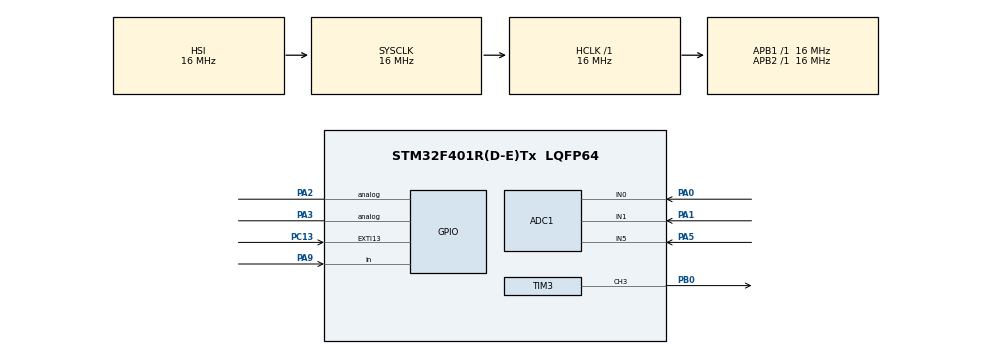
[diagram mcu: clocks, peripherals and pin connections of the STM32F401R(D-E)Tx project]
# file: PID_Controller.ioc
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Mcu.Family=STM32F4
Dma.ADC1.0.Instance=DMA2_Stream0
RCC.CortexFreq_Value=16000000
PC13-ANTI_TAMP.GPIO_PuPd=GPIO_PULLUP
ADC1.ContinuousConvMode=DISABLE
SH.S_TIM3_CH3.0=TIM3_CH3,PWM Generation3 CH3
PA9.GPIO_PuPd=GPIO_PULLUP
ADC1.SamplingTime-2\#ChannelRegularConversion=ADC_SAMPLETIME_3CYCLES
ProjectManager.StackSize=0x400
PA0-WKUP.Signal=ADCx_IN0
PA13.Signal=SYS_JTMS-SWDIO
TIM3.Channel-PWM\ Generation3\ CH3=TIM_CHANNEL_3
NVIC.ADC_IRQn=true\:0\:0\:false\:false\:true\:true\:true
Dma.ADC1.0.PeriphDataAlignment=DMA_PDATAALIGN_WORD
ADC1.Channel-5\#ChannelRegularConversion=ADC_CHANNEL_5
ProjectManager.TargetToolchain=STM32CubeIDE
Dma.ADC1.0.Mode=DMA_CIRCULAR
RCC.HCLKFreq_Value=16000000
Dma.ADC1.0.Priority=DMA_PRIORITY_LOW
RCC.APB2TimFreq_Value=16000000
PA9.Signal=GPIO_Input
ADC1.Channel-1\#ChannelRegularConversion=ADC_CHANNEL_0
Dma.ADC1.0.Direction=DMA_PERIPH_TO_MEMORY
ADC1.Channel-2\#ChannelRegularConversion=ADC_CHANNEL_1
ADC1.InjNumberOfConversion=0
NVIC.DMA2_Stream0_IRQn=true\:0\:0\:false\:false\:true\:false\:true
RCC.LSE_VALUE=32768
Dma.ADC1.0.MemDataAlignment=DMA_MDATAALIGN_WORD
PA1.Signal=ADCx_IN1
RCC.AHBFreq_Value=16000000
NVIC.EXTI15_10_IRQn=true\:0\:0\:false\:false\:true\:true\:true
PA5.Signal=ADCx_IN5
TIM3.Pulse-PWM\ Generation3\ CH3=65535
RCC.HSE_VALUE=25000000
VP_TIM2_VS_no_output1.Mode=PWM Generation1 No Output
board=custom
PC13-ANTI_TAMP.Signal=GPXTI13
RCC.VCOOutputFreq_Value=336000000
RCC.APB2Freq_Value=16000000
ADC1.Rank-2\#ChannelRegularConversion=2
PA14.Mode=Serial_Wire
Dma.ADC1.0.PeriphInc=DMA_PINC_DISABLE
SH.ADCx_IN0.0=ADC1_IN0,IN0
TIM2.Period=65535
ADC1.NbrOfConversion=3
PA13.Mode=Serial_Wire
Mcu.Name=STM32F401R(D-E)Tx
PA2.Signal=GPIO_Analog
RCC.48MHZClocksFreq_Value=84000000
ADC1.SamplingTime-1\#ChannelRegularConversion=ADC_SAMPLETIME_3CYCLES
RCC.SYSCLKFreq_VALUE=16000000
Mcu.Package=LQFP64
TIM2.Prescaler=15
ADC1.master=1
ADC1.Rank-1\#ChannelRegularConversion=1
PC13-ANTI_TAMP.GPIO_ModeDefaultEXTI=GPIO_MODE_IT_RISING
PA14.Signal=SYS_JTCK-SWCLK
Dma.ADC1.0.MemInc=DMA_MINC_ENABLE
ProjectManager.HeapSize=0x200
ADC1.SamplingTime-5\#ChannelRegularConversion=ADC_SAMPLETIME_3CYCLES
RCC.HSI_VALUE=16000000
SH.ADCx_IN5.0=ADC1_IN5,IN5
NVIC.PriorityGroup=NVIC_PRIORITYGROUP_4
TIM2.TIM_MasterOutputTrigger=TIM_TRGO_UPDATE
ADC1.NbrOfConversionFlag=1
TIM2.Channel-PWM\ Generation1\ No\ Output=TIM_CHANNEL_1
SH.ADCx_IN1.0=ADC1_IN1,IN1
RCC.PLLM=8
RCC.PLLN=168
RCC.APB1TimFreq_Value=16000000
Dma.ADC1.0.FIFOMode=DMA_FIFOMODE_DISABLE
Dma.Request0=ADC1
RCC.APB1Freq_Value=16000000
PB0.Signal=S_TIM3_CH3
ADC1.Rank-5\#ChannelRegularConversion=3
NVIC.RCC_IRQn=true\:0\:0\:false\:false\:true\:true\:false
PA3.Signal=GPIO_Analog

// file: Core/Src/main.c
/* USER CODE BEGIN Header */
/**
  ******************************************************************************
  * @file           : main.c
  * @brief          : Main program body
  ******************************************************************************
  * @attention
  *
  * <h2><center>&copy; Copyright (c) 2021 STMicroelectronics.
  * All rights reserved.</center></h2>
  *
  * This software component is licensed by ST under BSD 3-Clause license,
  * the "License"; You may not use this file except in compliance with the
  * License. You may obtain a copy of the License at:
  *                        opensource.org/licenses/BSD-3-Clause
  *
  ******************************************************************************
  */
/* USER CODE END Header */
#include "main.h"

ADC_HandleTypeDef hadc1;
DMA_HandleTypeDef hdma_adc1;

TIM_HandleTypeDef htim2;
TIM_HandleTypeDef htim3;

/* USER CODE BEGIN PV */

volatile long counter=0;
dir direction=Forward;

// ADC Value
uint32_t value[3];

// Timer
//uint16_t timer_val;

//PID constants
double kp;
double ki;
double kd;

unsigned long currentTime = 0, previousTime = 0;
double elapsedTime = 0;
double error = 0;
double lastError = 0;
double output = 0, setPoint = 0;
double cumError = 0, rateError = 0;

//uint32_t adcValue = 9;

//volatile uint32_t tim1_cnt=0, direction;
/* USER CODE END PV */

void SystemClock_Config(void);
static void MX_GPIO_Init(void);
static void MX_DMA_Init(void);
static void MX_ADC1_Init(void);
static void MX_TIM2_Init(void);
static void MX_TIM3_Init(void);

/* USER CODE BEGIN 0 */
//volatile long counter = 0;
/* USER CODE END 0 */

int main(void)
{
  /* USER CODE BEGIN 1 */
//	char buf[4];

  /* USER CODE END 1 */

  /* MCU Configuration--------------------------------------------------------*/

  /* Reset of all peripherals, Initializes the Flash interface and the Systick. */
  HAL_Init();

  /* Configure the system clock */
  SystemClock_Config();

  /* Initialize all configured peripherals */
  MX_GPIO_Init();
  MX_DMA_Init();
  MX_ADC1_Init();
  MX_TIM2_Init();
  MX_TIM3_Init();
  /* USER CODE BEGIN 2 */

//  HAL_TIM_Encoder_Start(&htim2, TIM_CHANNEL_ALL);
  extern uint8_t lastState;

  HAL_TIM_Base_Start(&htim2);

  HAL_TIM_Base_Start(&htim3);               //Initialize stm32 timer 3
  HAL_TIM_PWM_Start(&htim3,TIM_CHANNEL_3);  //PB0 Start pwm motor 100% duty cycle

  /* USER CODE END 2 */

  /* Infinite loop */
  /* USER CODE BEGIN WHILE */

  while (1)
  {
	  // Get current time (microseconds)
	  currentTime  = __HAL_TIM_GET_COUNTER(&htim2);
	  elapsedTime = (double)(currentTime - previousTime);

//	  HAL_ADC_Start_IT(&hadc1);
	  HAL_ADC_Start_DMA(&hadc1, value, 3);

	  kp = value[0];
	  kd = value[1];
	  ki = value[2];

//	  lastState = HAL_GPIO_ReadPin(GPIOA, GPIO_PIN_9);
//	  while(HAL_GPIO_ReadPin(GPIOC, GPIO_PIN_13) == SET)
//	  {
//		  uint8_t presentState = HAL_GPIO_ReadPin(GPIOA, GPIO_PIN_9);
//		  if (presentState != lastState)
//		  {
//			  if (presentState == SET)
//			  {
//				  direction = Forward;
//			  }
//			  else
//			  {
//				  direction = Reverse;
//			  }
//		  }
//	  }

	  error = setPoint - counter;                     // determine error
	  cumError += error * elapsedTime;                // compute integral
	  rateError = (error - lastError)/elapsedTime;    // compute derivative

	  if(counter == 0)
	  {
		  output = 0;
		  __HAL_TIM_SET_COMPARE(&htim3,TIM_CHANNEL_3,100); // motor voltage
		  HAL_GPIO_WritePin(GPIOA,GPIO_PIN_2,GPIO_PIN_RESET);   // Start motor clockwise rotation
		  HAL_GPIO_WritePin(GPIOA,GPIO_PIN_3,GPIO_PIN_RESET);
	  }
	  else if(counter >0)
	  {
		  output = (kp*error + ki*cumError + kd*rateError)/10000000000000000; //PID output
		  __HAL_TIM_SET_COMPARE(&htim3,TIM_CHANNEL_3,50); //motor voltage

		  HAL_GPIO_WritePin(GPIOA,GPIO_PIN_2,GPIO_PIN_SET);   // Start motor clockwise rotation
		  HAL_GPIO_WritePin(GPIOA,GPIO_PIN_3,GPIO_PIN_RESET);
	  }
	  else
	  {
		  output = (kp*error + ki*cumError + kd*rateError)/10000000000000000; //PID output
		  __HAL_TIM_SET_COMPARE(&htim3,TIM_CHANNEL_3,75); //motor voltage

		  HAL_GPIO_WritePin(GPIOA,GPIO_PIN_2,GPIO_PIN_RESET);   // Start motor anticlockwise rotation
		  HAL_GPIO_WritePin(GPIOA,GPIO_PIN_3,GPIO_PIN_SET);
	  }

	  lastError = error;                                //remember current error
	  previousTime = currentTime;                        //remember current time

    /* USER CODE END WHILE */

  }
}

void SystemClock_Config(void)
{
  RCC_OscInitTypeDef RCC_OscInitStruct = {0};
  RCC_ClkInitTypeDef RCC_ClkInitStruct = {0};

  /** Configure the main internal regulator output voltage
  */
  __HAL_RCC_PWR_CLK_ENABLE();
  __HAL_PWR_VOLTAGESCALING_CONFIG(PWR_REGULATOR_VOLTAGE_SCALE2);
  /** Initializes the RCC Oscillators according to the specified parameters
  * in the RCC_OscInitTypeDef structure.
  */
  RCC_OscInitStruct.OscillatorType = RCC_OSCILLATORTYPE_HSI;
  RCC_OscInitStruct.HSIState = RCC_HSI_ON;
  RCC_OscInitStruct.HSICalibrationValue = RCC_HSICALIBRATION_DEFAULT;
  RCC_OscInitStruct.PLL.PLLState = RCC_PLL_NONE;
  if (HAL_RCC_OscConfig(&RCC_OscInitStruct) != HAL_OK)
  {
    Error_Handler();
  }
  /** Initializes the CPU, AHB and APB buses clocks
  */
  RCC_ClkInitStruct.ClockType = RCC_CLOCKTYPE_HCLK|RCC_CLOCKTYPE_SYSCLK
                              |RCC_CLOCKTYPE_PCLK1|RCC_CLOCKTYPE_PCLK2;
  RCC_ClkInitStruct.SYSCLKSource = RCC_SYSCLKSOURCE_HSI;
  RCC_ClkInitStruct.AHBCLKDivider = RCC_SYSCLK_DIV1;
  RCC_ClkInitStruct.APB1CLKDivider = RCC_HCLK_DIV1;
  RCC_ClkInitStruct.APB2CLKDivider = RCC_HCLK_DIV1;

  if (HAL_RCC_ClockConfig(&RCC_ClkInitStruct, FLASH_LATENCY_0) != HAL_OK)
  {
    Error_Handler();
  }
}

static void MX_ADC1_Init(void)
{

  ADC_ChannelConfTypeDef sConfig = {0};

  /** Configure the global features of the ADC (Clock, Resolution, Data Alignment and number of conversion)
  */
  hadc1.Instance = ADC1;
  hadc1.Init.ClockPrescaler = ADC_CLOCK_SYNC_PCLK_DIV2;
  hadc1.Init.Resolution = ADC_RESOLUTION_12B;
  hadc1.Init.ScanConvMode = ENABLE;
  hadc1.Init.ContinuousConvMode = DISABLE;
  hadc1.Init.DiscontinuousConvMode = DISABLE;
  hadc1.Init.ExternalTrigConvEdge = ADC_EXTERNALTRIGCONVEDGE_NONE;
  hadc1.Init.ExternalTrigConv = ADC_SOFTWARE_START;
  hadc1.Init.DataAlign = ADC_DATAALIGN_RIGHT;
  hadc1.Init.NbrOfConversion = 3;
  hadc1.Init.DMAContinuousRequests = DISABLE;
  hadc1.Init.EOCSelection = ADC_EOC_SINGLE_CONV;
  if (HAL_ADC_Init(&hadc1) != HAL_OK)
  {
    Error_Handler();
  }
  /** Configure for the selected ADC regular channel its corresponding rank in the sequencer and its sample time.
  */
  sConfig.Channel = ADC_CHANNEL_0;
  sConfig.Rank = 1;
  sConfig.SamplingTime = ADC_SAMPLETIME_3CYCLES;
  if (HAL_ADC_ConfigChannel(&hadc1, &sConfig) != HAL_OK)
  {
    Error_Handler();
  }
  /** Configure for the selected ADC regular channel its corresponding rank in the sequencer and its sample time.
  */
  sConfig.Channel = ADC_CHANNEL_1;
  sConfig.Rank = 2;
  if (HAL_ADC_ConfigChannel(&hadc1, &sConfig) != HAL_OK)
  {
    Error_Handler();
  }
  /** Configure for the selected ADC regular channel its corresponding rank in the sequencer and its sample time.
  */
  sConfig.Channel = ADC_CHANNEL_5;
  sConfig.Rank = 3;
  if (HAL_ADC_ConfigChannel(&hadc1, &sConfig) != HAL_OK)
  {
    Error_Handler();
  }

}

static void MX_TIM2_Init(void)
{

  TIM_MasterConfigTypeDef sMasterConfig = {0};
  TIM_OC_InitTypeDef sConfigOC = {0};

  htim2.Instance = TIM2;
  htim2.Init.Prescaler = 15;
  htim2.Init.CounterMode = TIM_COUNTERMODE_UP;
  htim2.Init.Period = 65535;
  htim2.Init.ClockDivision = TIM_CLOCKDIVISION_DIV1;
  htim2.Init.AutoReloadPreload = TIM_AUTORELOAD_PRELOAD_DISABLE;
  if (HAL_TIM_PWM_Init(&htim2) != HAL_OK)
  {
    Error_Handler();
  }
  sMasterConfig.MasterOutputTrigger = TIM_TRGO_UPDATE;
  sMasterConfig.MasterSlaveMode = TIM_MASTERSLAVEMODE_DISABLE;
  if (HAL_TIMEx_MasterConfigSynchronization(&htim2, &sMasterConfig) != HAL_OK)
  {
    Error_Handler();
  }
  sConfigOC.OCMode = TIM_OCMODE_PWM1;
  sConfigOC.Pulse = 0;
  sConfigOC.OCPolarity = TIM_OCPOLARITY_HIGH;
  sConfigOC.OCFastMode = TIM_OCFAST_DISABLE;
  if (HAL_TIM_PWM_ConfigChannel(&htim2, &sConfigOC, TIM_CHANNEL_1) != HAL_OK)
  {
    Error_Handler();
  }

}

static void MX_TIM3_Init(void)
{

  TIM_MasterConfigTypeDef sMasterConfig = {0};
  TIM_OC_InitTypeDef sConfigOC = {0};

  htim3.Instance = TIM3;
  htim3.Init.Prescaler = 0;
  htim3.Init.CounterMode = TIM_COUNTERMODE_UP;
  htim3.Init.Period = 65535;
  htim3.Init.ClockDivision = TIM_CLOCKDIVISION_DIV1;
  htim3.Init.AutoReloadPreload = TIM_AUTORELOAD_PRELOAD_DISABLE;
  if (HAL_TIM_PWM_Init(&htim3) != HAL_OK)
  {
    Error_Handler();
  }
  sMasterConfig.MasterOutputTrigger = TIM_TRGO_RESET;
  sMasterConfig.MasterSlaveMode = TIM_MASTERSLAVEMODE_DISABLE;
  if (HAL_TIMEx_MasterConfigSynchronization(&htim3, &sMasterConfig) != HAL_OK)
  {
    Error_Handler();
  }
  sConfigOC.OCMode = TIM_OCMODE_PWM1;
  sConfigOC.Pulse = 65535;
  sConfigOC.OCPolarity = TIM_OCPOLARITY_HIGH;
  sConfigOC.OCFastMode = TIM_OCFAST_DISABLE;
  if (HAL_TIM_PWM_ConfigChannel(&htim3, &sConfigOC, TIM_CHANNEL_3) != HAL_OK)
  {
    Error_Handler();
  }
  HAL_TIM_MspPostInit(&htim3);

}

static void MX_DMA_Init(void)
{

  /* DMA controller clock enable */
  __HAL_RCC_DMA2_CLK_ENABLE();

  /* DMA interrupt init */
  /* DMA2_Stream0_IRQn interrupt configuration */
  HAL_NVIC_SetPriority(DMA2_Stream0_IRQn, 0, 0);
  HAL_NVIC_EnableIRQ(DMA2_Stream0_IRQn);

}

static void MX_GPIO_Init(void)
{
  GPIO_InitTypeDef GPIO_InitStruct = {0};

  /* GPIO Ports Clock Enable */
  __HAL_RCC_GPIOC_CLK_ENABLE();
  __HAL_RCC_GPIOA_CLK_ENABLE();
  __HAL_RCC_GPIOB_CLK_ENABLE();

  /*Configure GPIO pin : PC13 */
  GPIO_InitStruct.Pin = GPIO_PIN_13;
  GPIO_InitStruct.Mode = GPIO_MODE_IT_RISING;
  GPIO_InitStruct.Pull = GPIO_PULLUP;
  HAL_GPIO_Init(GPIOC, &GPIO_InitStruct);

  /*Configure GPIO pins : PA2 PA3 */
  GPIO_InitStruct.Pin = GPIO_PIN_2|GPIO_PIN_3;
  GPIO_InitStruct.Mode = GPIO_MODE_ANALOG;
  GPIO_InitStruct.Pull = GPIO_NOPULL;
  HAL_GPIO_Init(GPIOA, &GPIO_InitStruct);

  /*Configure GPIO pin : PA9 */
  GPIO_InitStruct.Pin = GPIO_PIN_9;
  GPIO_InitStruct.Mode = GPIO_MODE_INPUT;
  GPIO_InitStruct.Pull = GPIO_PULLUP;
  HAL_GPIO_Init(GPIOA, &GPIO_InitStruct);

  /* EXTI interrupt init*/
  HAL_NVIC_SetPriority(EXTI15_10_IRQn, 0, 0);
  HAL_NVIC_EnableIRQ(EXTI15_10_IRQn);

}

void Error_Handler(void)
{
  __disable_irq();
  while (1)
  {
  }
}

/************************ (C) COPYRIGHT STMicroelectronics *****END OF FILE****/
